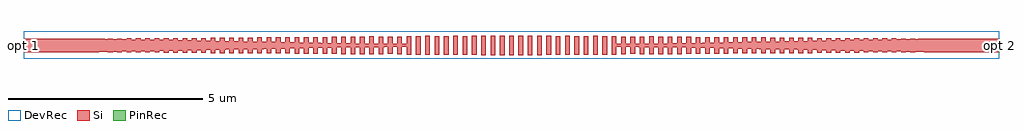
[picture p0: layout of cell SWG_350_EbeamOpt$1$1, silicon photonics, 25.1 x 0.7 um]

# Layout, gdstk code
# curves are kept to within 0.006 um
import gdstk
lib = gdstk.Library(unit=1e-6, precision=1e-09)
def R(c, l, rs):  # rectangles x0, y0, x1, y1
    for r in rs: c.add(gdstk.rectangle(r[:2], r[2:], *l))
def A(c, l, x, y, w, h, nx, ny, dx, dy):  # array of equal rectangles
    R(c, l, [(x+i*dx, y+j*dy, x+i*dx+w, y+j*dy+h) for i in range(nx) for j in range(ny)])
def P(c, l, *ps):  # polygons
    for p in ps: c.add(gdstk.Polygon(p, *l))
Si = (1, 0)
PinRec = (1, 10)
DevRec = (68, 0)

swg_350_ebeamopt_1_1 = lib.new_cell('SWG_350_EbeamOpt$1$1')
A(swg_350_ebeamopt_1_1, Si, -27.99, -219.91, 0.12, 0.5, 3, 1, 0.24, 0)
A(swg_350_ebeamopt_1_1, Si, -27.51, -219.91, 0.12, 0.5, 3, 1, 0.24, 0)
R(swg_350_ebeamopt_1_1, Si, [(-28.23,-219.909,-28.11,-219.411), (-26.79,-219.909,-26.67,-219.411), (-28.47,-219.905,-28.35,-219.415), (-26.55,-219.905,-26.43,-219.415), (-28.95,-219.904,-28.83,-219.416), (-26.07,-219.904,-25.95,-219.416), (-29.67,-219.903,-29.55,-219.417), (-25.35,-219.903,-25.23,-219.417), (-28.71,-219.901,-28.59,-219.419), (-26.31,-219.901,-26.19,-219.419), (-29.19,-219.9,-29.07,-219.42), (-25.83,-219.9,-25.71,-219.42), (-29.91,-219.899,-29.79,-219.421), (-29.43,-219.899,-29.31,-219.421), (-25.59,-219.899,-25.47,-219.421), (-25.11,-219.899,-24.99,-219.421), (-30.15,-219.895,-30.03,-219.425), (-24.87,-219.895,-24.75,-219.425), (-31.11,-219.889,-30.99,-219.431), (-23.91,-219.889,-23.79,-219.431), (-30.87,-219.887,-30.75,-219.433), (-24.15,-219.887,-24.03,-219.433), (-30.39,-219.886,-30.27,-219.434), (-24.63,-219.886,-24.51,-219.434), (-31.35,-219.885,-31.23,-219.435), (-23.67,-219.885,-23.55,-219.435), (-31.83,-219.882,-31.71,-219.438), (-31.59,-219.882,-31.47,-219.438), (-23.43,-219.882,-23.31,-219.438), (-23.19,-219.882,-23.07,-219.438), (-30.63,-219.88,-30.51,-219.44), (-24.39,-219.88,-24.27,-219.44), (-32.07,-219.879,-31.95,-219.441), (-22.95,-219.879,-22.83,-219.441), (-32.31,-219.874,-32.19,-219.446), (-22.71,-219.874,-22.59,-219.446), (-33.03,-219.873,-32.91,-219.447), (-32.79,-219.873,-32.67,-219.447), (-22.23,-219.873,-22.11,-219.447), (-21.99,-219.873,-21.87,-219.447), (-32.55,-219.871,-32.43,-219.449), (-22.47,-219.871,-22.35,-219.449), (-33.75,-219.867,-33.63,-219.453), (-21.27,-219.867,-21.15,-219.453), (-33.99,-219.866,-33.87,-219.454), (-33.51,-219.866,-33.39,-219.454), (-33.27,-219.866,-33.15,-219.454), (-21.75,-219.866,-21.63,-219.454), (-21.51,-219.866,-21.39,-219.454), (-21.03,-219.866,-20.91,-219.454), (-34.23,-219.862,-34.11,-219.458), (-20.79,-219.862,-20.67,-219.458), (-34.95,-219.859,-34.83,-219.461), (-20.07,-219.859,-19.95,-219.461), (-34.71,-219.857,-34.59,-219.463), (-20.31,-219.857,-20.19,-219.463), (-35.19,-219.856,-35.07,-219.464), (-34.47,-219.856,-34.35,-219.464), (-20.55,-219.856,-20.43,-219.464), (-19.83,-219.856,-19.71,-219.464), (-35.43,-219.85,-35.31,-219.47), (-19.59,-219.85,-19.47,-219.47), (-36.15,-219.848,-36.03,-219.472), (-18.87,-219.848,-18.75,-219.472), (-35.91,-219.847,-35.79,-219.473), (-19.11,-219.847,-18.99,-219.473), (-35.67,-219.846,-35.55,-219.474), (-19.35,-219.846,-19.23,-219.474), (-36.39,-219.845,-36.27,-219.475), (-18.63,-219.845,-18.51,-219.475), (-36.63,-219.842,-36.51,-219.478), (-18.39,-219.842,-18.27,-219.478), (-36.87,-219.841,-36.75,-219.479), (-18.15,-219.841,-18.03,-219.479), (-37.11,-219.84,-36.99,-219.48), (-17.91,-219.84,-17.79,-219.48), (-37.35,-219.839,-37.23,-219.481), (-17.67,-219.839,-17.55,-219.481), (-37.59,-219.836,-37.47,-219.484), (-17.43,-219.836,-17.31,-219.484), (-39.99,-219.835,-38.07,-219.485), (-16.83,-219.835,-14.91,-219.485), (-37.83,-219.833,-37.71,-219.487), (-17.19,-219.833,-17.07,-219.487)])
P(swg_350_ebeamopt_1_1, Si, [(-38.07,-219.835),(-38.07,-219.485),(-31.703,-219.609),(-30.07,-219.62),(-30.07,-219.7),(-31.703,-219.711)],
  [(-16.83,-219.835),(-23.197,-219.711),(-24.83,-219.7),(-24.83,-219.62),(-23.197,-219.609),(-16.83,-219.485)])
R(swg_350_ebeamopt_1_1, DevRec, [(-39.99,-220,-14.91,-219.3)])
swg_350_ebeamopt_1_1.add(gdstk.FlexPath([(-39.98,-219.66),(-40,-219.66)], 0.35, ends="flush", simple_path=True, layer=1, datatype=10))  # PinRec
swg_350_ebeamopt_1_1.add(gdstk.FlexPath([(-14.92,-219.66),(-14.9,-219.66)], 0.35, ends="flush", simple_path=True, layer=1, datatype=10))  # PinRec
swg_350_ebeamopt_1_1.add(gdstk.Label('opt 1', (-39.99,-219.66), layer=1, texttype=10))
swg_350_ebeamopt_1_1.add(gdstk.Label('opt 2', (-14.91,-219.66), layer=1, texttype=10))

lib.write_gds('SWG_350_EbeamOpt_1_1.gds')
